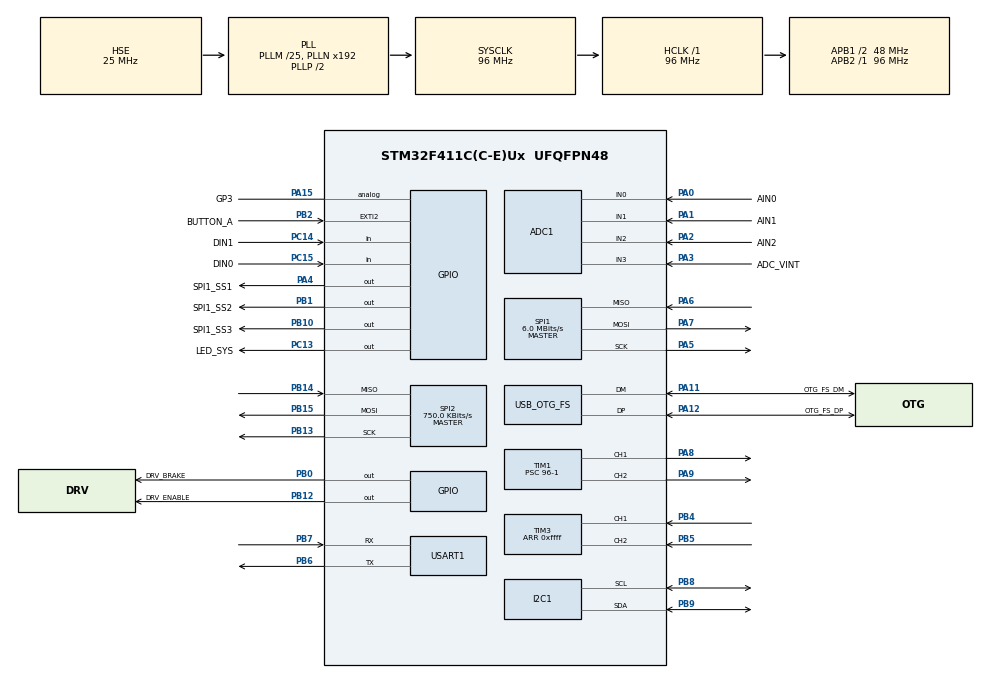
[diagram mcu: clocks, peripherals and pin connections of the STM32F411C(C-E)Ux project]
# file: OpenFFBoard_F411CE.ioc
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ADC1.Channel-1\#ChannelRegularConversion=ADC_CHANNEL_1
ADC1.Channel-12\#ChannelRegularConversion=ADC_CHANNEL_TEMPSENSOR
ADC1.Channel-13\#ChannelRegularConversion=ADC_CHANNEL_VREFINT
ADC1.Channel-2\#ChannelRegularConversion=ADC_CHANNEL_0
ADC1.Channel-3\#ChannelRegularConversion=ADC_CHANNEL_13
ADC1.Channel-4\#ChannelRegularConversion=ADC_CHANNEL_12
ADC1.Channel-5\#ChannelRegularConversion=ADC_CHANNEL_11
ADC1.Channel-6\#ChannelRegularConversion=ADC_CHANNEL_10
ADC1.Channel-7\#ChannelRegularConversion=ADC_CHANNEL_2
ADC1.Channel-8\#ChannelRegularConversion=ADC_CHANNEL_3
ADC1.ContinuousConvMode=ENABLE
ADC1.DMAContinuousRequests=ENABLE
ADC1.InjNumberOfConversion=0
ADC1.NbrOfConversion=10
ADC1.Rank-1\#ChannelRegularConversion=1
ADC1.Rank-12\#ChannelRegularConversion=9
ADC1.Rank-13\#ChannelRegularConversion=10
ADC1.Rank-2\#ChannelRegularConversion=2
ADC1.Rank-3\#ChannelRegularConversion=3
ADC1.Rank-4\#ChannelRegularConversion=4
ADC1.Rank-5\#ChannelRegularConversion=5
ADC1.Rank-6\#ChannelRegularConversion=6
ADC1.Rank-7\#ChannelRegularConversion=7
ADC1.Rank-8\#ChannelRegularConversion=8
ADC1.SamplingTime-1\#ChannelRegularConversion=ADC_SAMPLETIME_56CYCLES
ADC1.SamplingTime-12\#ChannelRegularConversion=ADC_SAMPLETIME_28CYCLES
ADC1.SamplingTime-13\#ChannelRegularConversion=ADC_SAMPLETIME_28CYCLES
ADC1.SamplingTime-2\#ChannelRegularConversion=ADC_SAMPLETIME_56CYCLES
ADC1.SamplingTime-3\#ChannelRegularConversion=ADC_SAMPLETIME_56CYCLES
ADC1.SamplingTime-4\#ChannelRegularConversion=ADC_SAMPLETIME_56CYCLES
ADC1.SamplingTime-5\#ChannelRegularConversion=ADC_SAMPLETIME_56CYCLES
ADC1.SamplingTime-6\#ChannelRegularConversion=ADC_SAMPLETIME_56CYCLES
ADC1.SamplingTime-7\#ChannelRegularConversion=ADC_SAMPLETIME_28CYCLES
ADC1.SamplingTime-8\#ChannelRegularConversion=ADC_SAMPLETIME_28CYCLES
ADC1.master=1
Dma.ADC1.0.Direction=DMA_PERIPH_TO_MEMORY
Dma.ADC1.0.FIFOMode=DMA_FIFOMODE_DISABLE
Dma.ADC1.0.Instance=DMA2_Stream0
Dma.ADC1.0.MemDataAlignment=DMA_MDATAALIGN_WORD
Dma.ADC1.0.MemInc=DMA_MINC_ENABLE
Dma.ADC1.0.Mode=DMA_CIRCULAR
Dma.ADC1.0.PeriphDataAlignment=DMA_PDATAALIGN_WORD
Dma.ADC1.0.PeriphInc=DMA_PINC_DISABLE
Dma.ADC1.0.Priority=DMA_PRIORITY_MEDIUM
Dma.Request0=ADC1
Dma.Request1=SPI1_TX
Dma.Request2=SPI2_RX
Dma.Request3=SPI2_TX
Dma.Request4=SPI1_RX
Dma.SPI1_RX.4.Direction=DMA_PERIPH_TO_MEMORY
Dma.SPI1_RX.4.FIFOMode=DMA_FIFOMODE_DISABLE
Dma.SPI1_RX.4.Instance=DMA2_Stream2
Dma.SPI1_RX.4.MemDataAlignment=DMA_MDATAALIGN_BYTE
Dma.SPI1_RX.4.MemInc=DMA_MINC_ENABLE
Dma.SPI1_RX.4.Mode=DMA_NORMAL
Dma.SPI1_RX.4.PeriphDataAlignment=DMA_PDATAALIGN_BYTE
Dma.SPI1_RX.4.PeriphInc=DMA_PINC_DISABLE
Dma.SPI1_RX.4.Priority=DMA_PRIORITY_HIGH
Dma.SPI1_TX.1.Direction=DMA_MEMORY_TO_PERIPH
Dma.SPI1_TX.1.FIFOMode=DMA_FIFOMODE_DISABLE
Dma.SPI1_TX.1.Instance=DMA2_Stream3
Dma.SPI1_TX.1.MemDataAlignment=DMA_MDATAALIGN_BYTE
Dma.SPI1_TX.1.MemInc=DMA_MINC_ENABLE
Dma.SPI1_TX.1.Mode=DMA_NORMAL
Dma.SPI1_TX.1.PeriphDataAlignment=DMA_PDATAALIGN_BYTE
Dma.SPI1_TX.1.PeriphInc=DMA_PINC_DISABLE
Dma.SPI1_TX.1.Priority=DMA_PRIORITY_HIGH
Dma.SPI2_RX.2.Direction=DMA_PERIPH_TO_MEMORY
Dma.SPI2_RX.2.FIFOMode=DMA_FIFOMODE_DISABLE
Dma.SPI2_RX.2.Instance=DMA1_Stream3
Dma.SPI2_RX.2.MemDataAlignment=DMA_MDATAALIGN_BYTE
Dma.SPI2_RX.2.MemInc=DMA_MINC_ENABLE
Dma.SPI2_RX.2.Mode=DMA_NORMAL
Dma.SPI2_RX.2.PeriphDataAlignment=DMA_PDATAALIGN_BYTE
Dma.SPI2_RX.2.PeriphInc=DMA_PINC_DISABLE
Dma.SPI2_RX.2.Priority=DMA_PRIORITY_LOW
Dma.SPI2_TX.3.Direction=DMA_MEMORY_TO_PERIPH
Dma.SPI2_TX.3.FIFOMode=DMA_FIFOMODE_DISABLE
Dma.SPI2_TX.3.Instance=DMA1_Stream4
Dma.SPI2_TX.3.MemDataAlignment=DMA_MDATAALIGN_BYTE
Dma.SPI2_TX.3.MemInc=DMA_MINC_ENABLE
Dma.SPI2_TX.3.Mode=DMA_NORMAL
Dma.SPI2_TX.3.PeriphDataAlignment=DMA_PDATAALIGN_BYTE
Dma.SPI2_TX.3.PeriphInc=DMA_PINC_DISABLE
Dma.SPI2_TX.3.Priority=DMA_PRIORITY_LOW
FREERTOS.HEAP_NUMBER=4
FREERTOS.Tasks01=defaultTask,16,1024,StartDefaultTask,As weak,NULL,Dynamic,NULL,NULL
FREERTOS.configCHECK_FOR_STACK_OVERFLOW=2
FREERTOS.configENABLE_FPU=1
FREERTOS.configGENERATE_RUN_TIME_STATS=0
FREERTOS.configRECORD_STACK_HIGH_ADDRESS=1
FREERTOS.configTOTAL_HEAP_SIZE=0xffff
FREERTOS.configUSE_NEWLIB_REENTRANT=1
IWDG.Prescaler=IWDG_PRESCALER_16
Mcu.Family=STM32F4
Mcu.Name=STM32F411C(C-E)Ux
Mcu.Package=UFQFPN48
NVIC.DMA1_Stream3_IRQn=true\:5\:0\:true\:false\:true\:true\:false\:true\:true
NVIC.DMA1_Stream4_IRQn=true\:5\:0\:true\:false\:true\:true\:false\:true\:true
NVIC.DMA2_Stream0_IRQn=true\:5\:0\:true\:true\:true\:2\:true\:false\:true\:true
NVIC.DMA2_Stream2_IRQn=true\:5\:0\:true\:false\:true\:true\:false\:true\:true
NVIC.DMA2_Stream3_IRQn=true\:5\:0\:true\:false\:true\:true\:false\:true\:true
NVIC.EXTI2_IRQn=true\:6\:0\:true\:false\:true\:true\:true\:true\:true
NVIC.OTG_FS_IRQn=true\:14\:0\:true\:false\:true\:true\:true\:false\:true
NVIC.PriorityGroup=NVIC_PRIORITYGROUP_4
NVIC.SPI1_IRQn=true\:5\:0\:false\:false\:true\:true\:true\:true\:true
NVIC.TIM1_BRK_TIM9_IRQn=true\:6\:0\:true\:false\:true\:true\:true\:true\:true
NVIC.TIM1_TRG_COM_TIM11_IRQn=true\:0\:0\:true\:false\:true\:false\:false\:true\:true
NVIC.TIM2_IRQn=true\:7\:0\:true\:true\:true\:5\:true\:true\:true\:true
NVIC.TIM4_IRQn=true\:6\:0\:true\:true\:true\:3\:true\:true\:true\:true
NVIC.TIM5_IRQn=true\:9\:0\:true\:true\:true\:7\:true\:true\:true\:true
NVIC.TimeBase=TIM1_TRG_COM_TIM11_IRQn
NVIC.TimeBaseIP=TIM11
PA0-WKUP.GPIO_Label=AIN0
PA0-WKUP.Signal=ADCx_IN0
PA1.GPIO_Label=AIN1
PA1.Signal=ADCx_IN1
PA11.GPIO_Label=OTG_FS_DM
PA11.Mode=Device_Only
PA11.Signal=USB_OTG_FS_DM
PA12.GPIO_Label=OTG_FS_DP
PA12.Mode=Device_Only
PA12.Signal=USB_OTG_FS_DP
PA13.GPIO_Label=SWDIO
PA13.Mode=Serial_Wire
PA13.Signal=SYS_JTMS-SWDIO
PA14.GPIO_Label=SWCLK
PA14.Mode=Serial_Wire
PA14.Signal=SYS_JTCK-SWCLK
PA15.GPIO_Label=GP3
PA15.Signal=GPIO_Analog
PA2.GPIO_Label=AIN2
PA2.Signal=ADCx_IN2
PA3.GPIO_Label=ADC_VINT
PA3.Signal=ADCx_IN3
PA4.GPIO_Label=SPI1_SS1
PA4.GPIO_Speed=GPIO_SPEED_FREQ_VERY_HIGH
PA4.PinState=GPIO_PIN_SET
PA4.Signal=GPIO_Output
PA5.Mode=Full_Duplex_Master
PA5.Signal=SPI1_SCK
PA6.GPIO_PuPd=GPIO_NOPULL
PA6.Mode=Full_Duplex_Master
PA6.Signal=SPI1_MISO
PA7.Mode=Full_Duplex_Master
PA7.Signal=SPI1_MOSI
PA8.Signal=S_TIM1_CH1
PA9.Signal=S_TIM1_CH2
PB0.GPIO_Label=DRV_BRAKE
PB0.GPIO_PuPd=GPIO_NOPULL
PB0.GPIO_Speed=GPIO_SPEED_FREQ_MEDIUM
PB0.Signal=GPIO_Output
PB1.GPIO_Label=SPI1_SS2
PB1.GPIO_Speed=GPIO_SPEED_FREQ_VERY_HIGH
PB1.PinState=GPIO_PIN_SET
PB1.Signal=GPIO_Output
PB10.GPIO_Label=SPI1_SS3
PB10.GPIO_Speed=GPIO_SPEED_FREQ_VERY_HIGH
PB10.PinState=GPIO_PIN_SET
PB10.Signal=GPIO_Output
PB12.GPIO_Label=DRV_ENABLE
PB12.Signal=GPIO_Output
PB13.Mode=Full_Duplex_Master
PB13.Signal=SPI2_SCK
PB14.Mode=Full_Duplex_Master
PB14.Signal=SPI2_MISO
PB15.Mode=Full_Duplex_Master
PB15.Signal=SPI2_MOSI
PB2.GPIO_Label=BUTTON_A
PB2.Signal=GPXTI2
PB3.Signal=SYS_JTDO-SWO
PB4.GPIO_PuPd=GPIO_PULLUP
PB4.Signal=S_TIM3_CH1
PB5.GPIO_PuPd=GPIO_PULLUP
PB5.Signal=S_TIM3_CH2
PB6.Mode=Asynchronous
PB6.Signal=USART1_TX
PB7.Mode=Asynchronous
PB7.Signal=USART1_RX
PB8.Mode=I2C
PB8.Signal=I2C1_SCL
PB9.Mode=I2C
PB9.Signal=I2C1_SDA
PC13-ANTI_TAMP.GPIO_Label=LED_SYS
PC13-ANTI_TAMP.Signal=GPIO_Output
PC14-OSC32_IN.GPIO_Label=DIN1
PC14-OSC32_IN.GPIO_PuPd=GPIO_PULLUP
PC14-OSC32_IN.Signal=GPIO_Input
PC15-OSC32_OUT.GPIO_Label=DIN0
PC15-OSC32_OUT.GPIO_PuPd=GPIO_PULLUP
PC15-OSC32_OUT.Signal=GPIO_Input
PH0\ -\ OSC_IN.Mode=HSE-External-Oscillator
PH0\ -\ OSC_IN.Signal=RCC_OSC_IN
PH1\ -\ OSC_OUT.Mode=HSE-External-Oscillator
PH1\ -\ OSC_OUT.Signal=RCC_OSC_OUT
ProjectManager.HeapSize=0x400
ProjectManager.StackSize=0x400
ProjectManager.TargetToolchain=Makefile
RCC.48MHZClocksFreq_Value=48000000
RCC.AHBFreq_Value=96000000
RCC.APB1CLKDivider=RCC_HCLK_DIV2
RCC.APB1Freq_Value=48000000
RCC.APB1TimFreq_Value=96000000
RCC.APB2Freq_Value=96000000
RCC.APB2TimFreq_Value=96000000
RCC.CortexFreq_Value=96000000
RCC.HCLKFreq_Value=96000000
RCC.HSE_VALUE=25000000
RCC.HSI_VALUE=16000000
RCC.LSE_VALUE=32768
RCC.PLLM=25
RCC.SYSCLKFreq_VALUE=96000000
RCC.SYSCLKSource=RCC_SYSCLKSOURCE_PLLCLK
RCC.VCOOutputFreq_Value=192000000
SH.ADCx_IN0.0=ADC1_IN0,IN0
SH.ADCx_IN1.0=ADC1_IN1,IN1
SH.ADCx_IN2.0=ADC1_IN2,IN2
SH.ADCx_IN3.0=ADC1_IN3,IN3
SH.S_TIM1_CH1.0=TIM1_CH1,PWM Generation1 CH1
SH.S_TIM1_CH2.0=TIM1_CH2,PWM Generation2 CH2
SH.S_TIM3_CH1.0=TIM3_CH1,Encoder_Interface
SH.S_TIM3_CH2.0=TIM3_CH2,Encoder_Interface
SPI1.BaudRatePrescaler=SPI_BAUDRATEPRESCALER_16
SPI1.CLKPhase=SPI_PHASE_2EDGE
SPI1.CLKPolarity=SPI_POLARITY_HIGH
SPI1.CalculateBaudRate=6.0 MBits/s
SPI1.DataSize=SPI_DATASIZE_8BIT
SPI1.Direction=SPI_DIRECTION_2LINES
SPI1.FirstBit=SPI_FIRSTBIT_MSB
SPI1.Mode=SPI_MODE_MASTER
SPI1.VirtualType=VM_MASTER
SPI2.BaudRatePrescaler=SPI_BAUDRATEPRESCALER_64
SPI2.CLKPhase=SPI_PHASE_1EDGE
SPI2.CLKPolarity=SPI_POLARITY_LOW
SPI2.CalculateBaudRate=750.0 KBits/s
SPI2.Direction=SPI_DIRECTION_2LINES
SPI2.FirstBit=SPI_FIRSTBIT_MSB
SPI2.Mode=SPI_MODE_MASTER
SPI2.VirtualType=VM_MASTER
TIM1.Channel-PWM\ Generation1\ CH1=TIM_CHANNEL_1
TIM1.Channel-PWM\ Generation2\ CH2=TIM_CHANNEL_2
TIM1.Period=0xffff
TIM1.Prescaler=96-1
TIM2.Period=500
TIM2.Prescaler=96-1
TIM3.CounterMode=TIM_COUNTERMODE_CENTERALIGNED1
TIM3.EncoderMode=TIM_ENCODERMODE_TI12
TIM3.Period=0xffff
TIM4.Period=0xffff
TIM4.Prescaler=96-1
TIM5.Period=0xffffffff
TIM5.Prescaler=96-1
USART1.VirtualMode=VM_ASYNC
USB_OTG_FS.Sof_enable=DISABLE
USB_OTG_FS.VirtualMode=Device_Only
USB_OTG_FS.lpm_enable=DISABLE
VP_ADC1_TempSens_Input.Mode=IN-TempSens
VP_ADC1_Vref_Input.Mode=IN-Vrefint
VP_FREERTOS_VS_CMSIS_V2.Mode=CMSIS_V2
VP_IWDG_VS_IWDG.Mode=IWDG_Activate
VP_SYS_VS_tim11.Mode=TIM11
VP_TIM10_VS_ClockSourceINT.Mode=Enable_Timer
VP_TIM1_VS_ClockSourceINT.Mode=Internal
VP_TIM2_VS_ClockSourceINT.Mode=Internal
VP_TIM4_VS_ClockSourceINT.Mode=Internal
VP_TIM5_VS_ClockSourceINT.Mode=Internal
VP_TIM9_VS_ClockSourceINT.Mode=Internal
board=custom

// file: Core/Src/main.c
/* USER CODE BEGIN Header */
/**
  ******************************************************************************
  * @file           : main.c
  * @brief          : Main program body
  ******************************************************************************
  * @attention
  *
  * <h2><center>&copy; Copyright (c) 2020 STMicroelectronics.
  * All rights reserved.</center></h2>
  *
  * This software component is licensed by ST under BSD 3-Clause license,
  * the "License"; You may not use this file except in compliance with the
  * License. You may obtain a copy of the License at:
  *                        opensource.org/licenses/BSD-3-Clause
  *
  ******************************************************************************
  */
/* USER CODE END Header */
#include "main.h"
#include "cmsis_os.h"

/* USER CODE BEGIN Includes */
//#include <cppmain.h>
extern void cppmain();
#include "global_callbacks.h"
/* USER CODE END Includes */

ADC_HandleTypeDef hadc1;
DMA_HandleTypeDef hdma_adc1;

I2C_HandleTypeDef hi2c1;

IWDG_HandleTypeDef hiwdg;

SPI_HandleTypeDef hspi1;
SPI_HandleTypeDef hspi2;
DMA_HandleTypeDef hdma_spi1_tx;
DMA_HandleTypeDef hdma_spi1_rx;
DMA_HandleTypeDef hdma_spi2_rx;
DMA_HandleTypeDef hdma_spi2_tx;

TIM_HandleTypeDef htim1;
TIM_HandleTypeDef htim2;
TIM_HandleTypeDef htim3;
TIM_HandleTypeDef htim4;
TIM_HandleTypeDef htim5;
TIM_HandleTypeDef htim9;
TIM_HandleTypeDef htim10;

UART_HandleTypeDef huart1;

PCD_HandleTypeDef hpcd_USB_OTG_FS;

/* Definitions for defaultTask */
osThreadId_t defaultTaskHandle;
const osThreadAttr_t defaultTask_attributes = {
  .name = "defaultTask",
  .stack_size = 1024 * 4,
  .priority = (osPriority_t) osPriorityBelowNormal,
};

void SystemClock_Config(void);
static void MX_GPIO_Init(void);
static void MX_DMA_Init(void);
static void MX_ADC1_Init(void);
static void MX_TIM2_Init(void);
static void MX_TIM1_Init(void);
static void MX_SPI2_Init(void);
static void MX_TIM4_Init(void);
static void MX_TIM5_Init(void);
static void MX_SPI1_Init(void);
static void MX_TIM10_Init(void);
static void MX_TIM9_Init(void);
static void MX_IWDG_Init(void);
static void MX_TIM3_Init(void);
static void MX_USART1_UART_Init(void);
static void MX_I2C1_Init(void);
void StartDefaultTask(void *argument);

static void MX_NVIC_Init(void);
/* USER CODE BEGIN PFP */
uint32_t dfu_reset_to_bootloader_magic;
/* USER CODE END PFP */

/* USER CODE BEGIN 0 */

// dummy main
__attribute__((weak)) void cppmain(){
	Error_Handler();
}

/* USER CODE END 0 */

int main(void)
{

  /* MCU Configuration--------------------------------------------------------*/

  /* Reset of all peripherals, Initializes the Flash interface and the Systick. */
  HAL_Init();

  /* Configure the system clock */
  SystemClock_Config();

  /* Initialize all configured peripherals */
  MX_GPIO_Init();
  MX_DMA_Init();
  MX_ADC1_Init();
  MX_TIM2_Init();
  MX_TIM1_Init();
  MX_SPI2_Init();
  MX_TIM4_Init();
  MX_TIM5_Init();
  MX_SPI1_Init();
  MX_TIM10_Init();
  MX_TIM9_Init();
  MX_IWDG_Init();
  MX_TIM3_Init();
  MX_USART1_UART_Init();
  MX_I2C1_Init();

  /* Initialize interrupts */
  MX_NVIC_Init();
  /* USER CODE BEGIN 2 */
  MX_USB_OTG_FS_PCD_Init();
  //Test leds
  HAL_GPIO_WritePin(LED_SYS_GPIO_Port, LED_SYS_Pin, GPIO_PIN_SET);
  // HAL_GPIO_WritePin(LED_CLIP_GPIO_Port, LED_CLIP_Pin, GPIO_PIN_SET);
  // HAL_GPIO_WritePin(LED_ERR_GPIO_Port, LED_ERR_Pin, GPIO_PIN_SET);
  HAL_Delay(100);

  /* USER CODE END 2 */

  /* Init scheduler */
  osKernelInitialize();

  /* Create the thread(s) */
  /* creation of defaultTask */
  defaultTaskHandle = osThreadNew(StartDefaultTask, NULL, &defaultTask_attributes);

  /* Start scheduler */
  osKernelStart();

  /* We should never get here as control is now taken by the scheduler */
  /* Infinite loop */
  /* USER CODE BEGIN WHILE */

  while (1)
  {
	  cppmain();
    /* USER CODE END WHILE */

  }
}

void SystemClock_Config(void)
{
  RCC_OscInitTypeDef RCC_OscInitStruct = {0};
  RCC_ClkInitTypeDef RCC_ClkInitStruct = {0};

  /** Configure the main internal regulator output voltage
  */
  __HAL_RCC_PWR_CLK_ENABLE();
  __HAL_PWR_VOLTAGESCALING_CONFIG(PWR_REGULATOR_VOLTAGE_SCALE1);

  /** Initializes the RCC Oscillators according to the specified parameters
  * in the RCC_OscInitTypeDef structure.
  */
  RCC_OscInitStruct.OscillatorType = RCC_OSCILLATORTYPE_LSI|RCC_OSCILLATORTYPE_HSE;
  RCC_OscInitStruct.HSEState = RCC_HSE_ON;
  RCC_OscInitStruct.LSIState = RCC_LSI_ON;
  RCC_OscInitStruct.PLL.PLLState = RCC_PLL_ON;
  RCC_OscInitStruct.PLL.PLLSource = RCC_PLLSOURCE_HSE;
  RCC_OscInitStruct.PLL.PLLM = 25;
  RCC_OscInitStruct.PLL.PLLN = 192;
  RCC_OscInitStruct.PLL.PLLP = RCC_PLLP_DIV2;
  RCC_OscInitStruct.PLL.PLLQ = 4;
  if (HAL_RCC_OscConfig(&RCC_OscInitStruct) != HAL_OK)
  {
    Error_Handler();
  }

  /** Initializes the CPU, AHB and APB buses clocks
  */
  RCC_ClkInitStruct.ClockType = RCC_CLOCKTYPE_HCLK|RCC_CLOCKTYPE_SYSCLK
                              |RCC_CLOCKTYPE_PCLK1|RCC_CLOCKTYPE_PCLK2;
  RCC_ClkInitStruct.SYSCLKSource = RCC_SYSCLKSOURCE_PLLCLK;
  RCC_ClkInitStruct.AHBCLKDivider = RCC_SYSCLK_DIV1;
  RCC_ClkInitStruct.APB1CLKDivider = RCC_HCLK_DIV2;
  RCC_ClkInitStruct.APB2CLKDivider = RCC_HCLK_DIV1;

  if (HAL_RCC_ClockConfig(&RCC_ClkInitStruct, FLASH_LATENCY_3) != HAL_OK)
  {
    Error_Handler();
  }
}

/**
  * @brief NVIC Configuration.
  * @retval None
  */
static void MX_NVIC_Init(void)
{
  /* DMA2_Stream0_IRQn interrupt configuration */
  HAL_NVIC_SetPriority(DMA2_Stream0_IRQn, 5, 0);
  HAL_NVIC_EnableIRQ(DMA2_Stream0_IRQn);
  /* TIM4_IRQn interrupt configuration */
  HAL_NVIC_SetPriority(TIM4_IRQn, 6, 0);
  HAL_NVIC_EnableIRQ(TIM4_IRQn);
  /* TIM2_IRQn interrupt configuration */
  HAL_NVIC_SetPriority(TIM2_IRQn, 7, 0);
  HAL_NVIC_EnableIRQ(TIM2_IRQn);
  /* TIM5_IRQn interrupt configuration */
  HAL_NVIC_SetPriority(TIM5_IRQn, 9, 0);
  HAL_NVIC_EnableIRQ(TIM5_IRQn);
}

static void MX_ADC1_Init(void)
{

  ADC_ChannelConfTypeDef sConfig = {0};

  /** Configure the global features of the ADC (Clock, Resolution, Data Alignment and number of conversion)
  */
  hadc1.Instance = ADC1;
  hadc1.Init.ClockPrescaler = ADC_CLOCK_SYNC_PCLK_DIV4;
  hadc1.Init.Resolution = ADC_RESOLUTION_12B;
  hadc1.Init.ScanConvMode = ENABLE;
  hadc1.Init.ContinuousConvMode = ENABLE;
  hadc1.Init.DiscontinuousConvMode = DISABLE;
  hadc1.Init.ExternalTrigConvEdge = ADC_EXTERNALTRIGCONVEDGE_NONE;
  hadc1.Init.ExternalTrigConv = ADC_SOFTWARE_START;
  hadc1.Init.DataAlign = ADC_DATAALIGN_RIGHT;
  hadc1.Init.NbrOfConversion = 10;
  hadc1.Init.DMAContinuousRequests = ENABLE;
  hadc1.Init.EOCSelection = ADC_EOC_SINGLE_CONV;
  if (HAL_ADC_Init(&hadc1) != HAL_OK)
  {
    Error_Handler();
  }

  /** Configure for the selected ADC regular channel its corresponding rank in the sequencer and its sample time.
  */
  sConfig.Channel = ADC_CHANNEL_0;
  sConfig.Rank = 1;
  sConfig.SamplingTime = ADC_SAMPLETIME_56CYCLES;
  if (HAL_ADC_ConfigChannel(&hadc1, &sConfig) != HAL_OK)
  {
    Error_Handler();
  }

  /** Configure for the selected ADC regular channel its corresponding rank in the sequencer and its sample time.
  */
  sConfig.Channel = ADC_CHANNEL_1;
  sConfig.Rank = 2;
  if (HAL_ADC_ConfigChannel(&hadc1, &sConfig) != HAL_OK)
  {
    Error_Handler();
  }

  /** Configure for the selected ADC regular channel its corresponding rank in the sequencer and its sample time.
  */
  sConfig.Channel = ADC_CHANNEL_2;
  sConfig.Rank = 3;
  if (HAL_ADC_ConfigChannel(&hadc1, &sConfig) != HAL_OK)
  {
    Error_Handler();
  }

  /** Configure for the selected ADC regular channel its corresponding rank in the sequencer and its sample time.
  */
  sConfig.Channel = ADC_CHANNEL_12;
  sConfig.Rank = 4;
  if (HAL_ADC_ConfigChannel(&hadc1, &sConfig) != HAL_OK)
  {
    Error_Handler();
  }

  /** Configure for the selected ADC regular channel its corresponding rank in the sequencer and its sample time.
  */
  sConfig.Channel = ADC_CHANNEL_11;
  sConfig.Rank = 5;
  if (HAL_ADC_ConfigChannel(&hadc1, &sConfig) != HAL_OK)
  {
    Error_Handler();
  }

  /** Configure for the selected ADC regular channel its corresponding rank in the sequencer and its sample time.
  */
  sConfig.Channel = ADC_CHANNEL_10;
  sConfig.Rank = 6;
  if (HAL_ADC_ConfigChannel(&hadc1, &sConfig) != HAL_OK)
  {
    Error_Handler();
  }

  /** Configure for the selected ADC regular channel its corresponding rank in the sequencer and its sample time.
  */
  sConfig.Channel = ADC_CHANNEL_2;
  sConfig.Rank = 7;
  sConfig.SamplingTime = ADC_SAMPLETIME_28CYCLES;
  if (HAL_ADC_ConfigChannel(&hadc1, &sConfig) != HAL_OK)
  {
    Error_Handler();
  }

  /** Configure for the selected ADC regular channel its corresponding rank in the sequencer and its sample time.
  */
  sConfig.Channel = ADC_CHANNEL_3;
  sConfig.Rank = 8;
  if (HAL_ADC_ConfigChannel(&hadc1, &sConfig) != HAL_OK)
  {
    Error_Handler();
  }

  /** Configure for the selected ADC regular channel its corresponding rank in the sequencer and its sample time.
  */
  sConfig.Channel = ADC_CHANNEL_TEMPSENSOR;
  sConfig.Rank = 9;
  if (HAL_ADC_ConfigChannel(&hadc1, &sConfig) != HAL_OK)
  {
    Error_Handler();
  }

  /** Configure for the selected ADC regular channel its corresponding rank in the sequencer and its sample time.
  */
  sConfig.Channel = ADC_CHANNEL_VREFINT;
  sConfig.Rank = 10;
  if (HAL_ADC_ConfigChannel(&hadc1, &sConfig) != HAL_OK)
  {
    Error_Handler();
  }

}

static void MX_I2C1_Init(void)
{

  hi2c1.Instance = I2C1;
  hi2c1.Init.ClockSpeed = 100000;
  hi2c1.Init.DutyCycle = I2C_DUTYCYCLE_2;
  hi2c1.Init.OwnAddress1 = 0;
  hi2c1.Init.AddressingMode = I2C_ADDRESSINGMODE_7BIT;
  hi2c1.Init.DualAddressMode = I2C_DUALADDRESS_DISABLE;
  hi2c1.Init.OwnAddress2 = 0;
  hi2c1.Init.GeneralCallMode = I2C_GENERALCALL_DISABLE;
  hi2c1.Init.NoStretchMode = I2C_NOSTRETCH_DISABLE;
  if (HAL_I2C_Init(&hi2c1) != HAL_OK)
  {
    Error_Handler();
  }

}

static void MX_IWDG_Init(void)
{

  hiwdg.Instance = IWDG;
  hiwdg.Init.Prescaler = IWDG_PRESCALER_16;
  hiwdg.Init.Reload = 4095;
  if (HAL_IWDG_Init(&hiwdg) != HAL_OK)
  {
    Error_Handler();
  }

}

static void MX_SPI1_Init(void)
{

  /* SPI1 parameter configuration*/
  hspi1.Instance = SPI1;
  hspi1.Init.Mode = SPI_MODE_MASTER;
  hspi1.Init.Direction = SPI_DIRECTION_2LINES;
  hspi1.Init.DataSize = SPI_DATASIZE_8BIT;
  hspi1.Init.CLKPolarity = SPI_POLARITY_HIGH;
  hspi1.Init.CLKPhase = SPI_PHASE_2EDGE;
  hspi1.Init.NSS = SPI_NSS_SOFT;
  hspi1.Init.BaudRatePrescaler = SPI_BAUDRATEPRESCALER_16;
  hspi1.Init.FirstBit = SPI_FIRSTBIT_MSB;
  hspi1.Init.TIMode = SPI_TIMODE_DISABLE;
  hspi1.Init.CRCCalculation = SPI_CRCCALCULATION_DISABLE;
  hspi1.Init.CRCPolynomial = 10;
  if (HAL_SPI_Init(&hspi1) != HAL_OK)
  {
    Error_Handler();
  }

}

static void MX_SPI2_Init(void)
{

  /* SPI2 parameter configuration*/
  hspi2.Instance = SPI2;
  hspi2.Init.Mode = SPI_MODE_MASTER;
  hspi2.Init.Direction = SPI_DIRECTION_2LINES;
  hspi2.Init.DataSize = SPI_DATASIZE_8BIT;
  hspi2.Init.CLKPolarity = SPI_POLARITY_LOW;
  hspi2.Init.CLKPhase = SPI_PHASE_1EDGE;
  hspi2.Init.NSS = SPI_NSS_SOFT;
  hspi2.Init.BaudRatePrescaler = SPI_BAUDRATEPRESCALER_64;
  hspi2.Init.FirstBit = SPI_FIRSTBIT_MSB;
  hspi2.Init.TIMode = SPI_TIMODE_DISABLE;
  hspi2.Init.CRCCalculation = SPI_CRCCALCULATION_DISABLE;
  hspi2.Init.CRCPolynomial = 10;
  if (HAL_SPI_Init(&hspi2) != HAL_OK)
  {
    Error_Handler();
  }

}

static void MX_TIM1_Init(void)
{

  TIM_ClockConfigTypeDef sClockSourceConfig = {0};
  TIM_MasterConfigTypeDef sMasterConfig = {0};
  TIM_OC_InitTypeDef sConfigOC = {0};
  TIM_BreakDeadTimeConfigTypeDef sBreakDeadTimeConfig = {0};

  htim1.Instance = TIM1;
  htim1.Init.Prescaler = 96-1;
  htim1.Init.CounterMode = TIM_COUNTERMODE_UP;
  htim1.Init.Period = 0xffff;
  htim1.Init.ClockDivision = TIM_CLOCKDIVISION_DIV1;
  htim1.Init.RepetitionCounter = 0;
  htim1.Init.AutoReloadPreload = TIM_AUTORELOAD_PRELOAD_DISABLE;
  if (HAL_TIM_Base_Init(&htim1) != HAL_OK)
  {
    Error_Handler();
  }
  sClockSourceConfig.ClockSource = TIM_CLOCKSOURCE_INTERNAL;
  if (HAL_TIM_ConfigClockSource(&htim1, &sClockSourceConfig) != HAL_OK)
  {
    Error_Handler();
  }
  if (HAL_TIM_PWM_Init(&htim1) != HAL_OK)
  {
    Error_Handler();
  }
  sMasterConfig.MasterOutputTrigger = TIM_TRGO_RESET;
  sMasterConfig.MasterSlaveMode = TIM_MASTERSLAVEMODE_DISABLE;
  if (HAL_TIMEx_MasterConfigSynchronization(&htim1, &sMasterConfig) != HAL_OK)
  {
    Error_Handler();
  }
  sConfigOC.OCMode = TIM_OCMODE_PWM1;
  sConfigOC.Pulse = 0;
  sConfigOC.OCPolarity = TIM_OCPOLARITY_HIGH;
  sConfigOC.OCNPolarity = TIM_OCNPOLARITY_HIGH;
  sConfigOC.OCFastMode = TIM_OCFAST_DISABLE;
  sConfigOC.OCIdleState = TIM_OCIDLESTATE_RESET;
  sConfigOC.OCNIdleState = TIM_OCNIDLESTATE_RESET;
  if (HAL_TIM_PWM_ConfigChannel(&htim1, &sConfigOC, TIM_CHANNEL_1) != HAL_OK)
  {
    Error_Handler();
  }
  if (HAL_TIM_PWM_ConfigChannel(&htim1, &sConfigOC, TIM_CHANNEL_2) != HAL_OK)
  {
    Error_Handler();
  }
  sBreakDeadTimeConfig.OffStateRunMode = TIM_OSSR_DISABLE;
  sBreakDeadTimeConfig.OffStateIDLEMode = TIM_OSSI_DISABLE;
  sBreakDeadTimeConfig.LockLevel = TIM_LOCKLEVEL_OFF;
  sBreakDeadTimeConfig.DeadTime = 0;
  sBreakDeadTimeConfig.BreakState = TIM_BREAK_DISABLE;
  sBreakDeadTimeConfig.BreakPolarity = TIM_BREAKPOLARITY_HIGH;
  sBreakDeadTimeConfig.AutomaticOutput = TIM_AUTOMATICOUTPUT_DISABLE;
  if (HAL_TIMEx_ConfigBreakDeadTime(&htim1, &sBreakDeadTimeConfig) != HAL_OK)
  {
    Error_Handler();
  }
  HAL_TIM_MspPostInit(&htim1);

}

static void MX_TIM2_Init(void)
{

  TIM_ClockConfigTypeDef sClockSourceConfig = {0};
  TIM_MasterConfigTypeDef sMasterConfig = {0};

  htim2.Instance = TIM2;
  htim2.Init.Prescaler = 96-1;
  htim2.Init.CounterMode = TIM_COUNTERMODE_UP;
  htim2.Init.Period = 500;
  htim2.Init.ClockDivision = TIM_CLOCKDIVISION_DIV1;
  htim2.Init.AutoReloadPreload = TIM_AUTORELOAD_PRELOAD_DISABLE;
  if (HAL_TIM_Base_Init(&htim2) != HAL_OK)
  {
    Error_Handler();
  }
  sClockSourceConfig.ClockSource = TIM_CLOCKSOURCE_INTERNAL;
  if (HAL_TIM_ConfigClockSource(&htim2, &sClockSourceConfig) != HAL_OK)
  {
    Error_Handler();
  }
  sMasterConfig.MasterOutputTrigger = TIM_TRGO_RESET;
  sMasterConfig.MasterSlaveMode = TIM_MASTERSLAVEMODE_DISABLE;
  if (HAL_TIMEx_MasterConfigSynchronization(&htim2, &sMasterConfig) != HAL_OK)
  {
    Error_Handler();
  }

}

static void MX_TIM3_Init(void)
{

  TIM_Encoder_InitTypeDef sConfig = {0};
  TIM_MasterConfigTypeDef sMasterConfig = {0};

  htim3.Instance = TIM3;
  htim3.Init.Prescaler = 0;
  htim3.Init.CounterMode = TIM_COUNTERMODE_CENTERALIGNED1;
  htim3.Init.Period = 0xffff;
  htim3.Init.ClockDivision = TIM_CLOCKDIVISION_DIV1;
  htim3.Init.AutoReloadPreload = TIM_AUTORELOAD_PRELOAD_DISABLE;
  sConfig.EncoderMode = TIM_ENCODERMODE_TI12;
  sConfig.IC1Polarity = TIM_ICPOLARITY_RISING;
  sConfig.IC1Selection = TIM_ICSELECTION_DIRECTTI;
  sConfig.IC1Prescaler = TIM_ICPSC_DIV1;
  sConfig.IC1Filter = 0;
  sConfig.IC2Polarity = TIM_ICPOLARITY_RISING;
  sConfig.IC2Selection = TIM_ICSELECTION_DIRECTTI;
  sConfig.IC2Prescaler = TIM_ICPSC_DIV1;
  sConfig.IC2Filter = 0;
  if (HAL_TIM_Encoder_Init(&htim3, &sConfig) != HAL_OK)
  {
    Error_Handler();
  }
  sMasterConfig.MasterOutputTrigger = TIM_TRGO_RESET;
  sMasterConfig.MasterSlaveMode = TIM_MASTERSLAVEMODE_DISABLE;
  if (HAL_TIMEx_MasterConfigSynchronization(&htim3, &sMasterConfig) != HAL_OK)
  {
    Error_Handler();
  }

}

static void MX_TIM4_Init(void)
{

  TIM_ClockConfigTypeDef sClockSourceConfig = {0};
  TIM_MasterConfigTypeDef sMasterConfig = {0};

  htim4.Instance = TIM4;
  htim4.Init.Prescaler = 96-1;
  htim4.Init.CounterMode = TIM_COUNTERMODE_UP;
  htim4.Init.Period = 0xffff;
  htim4.Init.ClockDivision = TIM_CLOCKDIVISION_DIV1;
  htim4.Init.AutoReloadPreload = TIM_AUTORELOAD_PRELOAD_DISABLE;
  if (HAL_TIM_Base_Init(&htim4) != HAL_OK)
  {
    Error_Handler();
  }
  sClockSourceConfig.ClockSource = TIM_CLOCKSOURCE_INTERNAL;
  if (HAL_TIM_ConfigClockSource(&htim4, &sClockSourceConfig) != HAL_OK)
  {
    Error_Handler();
  }
  sMasterConfig.MasterOutputTrigger = TIM_TRGO_RESET;
  sMasterConfig.MasterSlaveMode = TIM_MASTERSLAVEMODE_DISABLE;
  if (HAL_TIMEx_MasterConfigSynchronization(&htim4, &sMasterConfig) != HAL_OK)
  {
    Error_Handler();
  }

}

static void MX_TIM5_Init(void)
{

  TIM_ClockConfigTypeDef sClockSourceConfig = {0};
  TIM_MasterConfigTypeDef sMasterConfig = {0};

  htim5.Instance = TIM5;
  htim5.Init.Prescaler = 96-1;
  htim5.Init.CounterMode = TIM_COUNTERMODE_UP;
  htim5.Init.Period = 0xffffffff;
  htim5.Init.ClockDivision = TIM_CLOCKDIVISION_DIV1;
  htim5.Init.AutoReloadPreload = TIM_AUTORELOAD_PRELOAD_DISABLE;
  if (HAL_TIM_Base_Init(&htim5) != HAL_OK)
  {
    Error_Handler();
  }
  sClockSourceConfig.ClockSource = TIM_CLOCKSOURCE_INTERNAL;
  if (HAL_TIM_ConfigClockSource(&htim5, &sClockSourceConfig) != HAL_OK)
  {
    Error_Handler();
  }
  sMasterConfig.MasterOutputTrigger = TIM_TRGO_RESET;
  sMasterConfig.MasterSlaveMode = TIM_MASTERSLAVEMODE_DISABLE;
  if (HAL_TIMEx_MasterConfigSynchronization(&htim5, &sMasterConfig) != HAL_OK)
  {
    Error_Handler();
  }

}

static void MX_TIM9_Init(void)
{

  TIM_ClockConfigTypeDef sClockSourceConfig = {0};

  htim9.Instance = TIM9;
  htim9.Init.Prescaler = 0;
  htim9.Init.CounterMode = TIM_COUNTERMODE_UP;
  htim9.Init.Period = 65535;
  htim9.Init.ClockDivision = TIM_CLOCKDIVISION_DIV1;
  htim9.Init.AutoReloadPreload = TIM_AUTORELOAD_PRELOAD_DISABLE;
  if (HAL_TIM_Base_Init(&htim9) != HAL_OK)
  {
    Error_Handler();
  }
  sClockSourceConfig.ClockSource = TIM_CLOCKSOURCE_INTERNAL;
  if (HAL_TIM_ConfigClockSource(&htim9, &sClockSourceConfig) != HAL_OK)
  {
    Error_Handler();
  }

}

static void MX_TIM10_Init(void)
{

  htim10.Instance = TIM10;
  htim10.Init.Prescaler = 0;
  htim10.Init.CounterMode = TIM_COUNTERMODE_UP;
  htim10.Init.Period = 65535;
  htim10.Init.ClockDivision = TIM_CLOCKDIVISION_DIV1;
  htim10.Init.AutoReloadPreload = TIM_AUTORELOAD_PRELOAD_DISABLE;
  if (HAL_TIM_Base_Init(&htim10) != HAL_OK)
  {
    Error_Handler();
  }

}

static void MX_USART1_UART_Init(void)
{

  huart1.Instance = USART1;
  huart1.Init.BaudRate = 115200;
  huart1.Init.WordLength = UART_WORDLENGTH_8B;
  huart1.Init.StopBits = UART_STOPBITS_1;
  huart1.Init.Parity = UART_PARITY_NONE;
  huart1.Init.Mode = UART_MODE_TX_RX;
  huart1.Init.HwFlowCtl = UART_HWCONTROL_NONE;
  huart1.Init.OverSampling = UART_OVERSAMPLING_16;
  if (HAL_UART_Init(&huart1) != HAL_OK)
  {
    Error_Handler();
  }

}

void MX_USB_OTG_FS_PCD_Init(void)
{

  hpcd_USB_OTG_FS.Instance = USB_OTG_FS;
  hpcd_USB_OTG_FS.Init.dev_endpoints = 4;
  hpcd_USB_OTG_FS.Init.speed = PCD_SPEED_FULL;
  hpcd_USB_OTG_FS.Init.dma_enable = DISABLE;
  hpcd_USB_OTG_FS.Init.phy_itface = PCD_PHY_EMBEDDED;
  hpcd_USB_OTG_FS.Init.Sof_enable = DISABLE;
  hpcd_USB_OTG_FS.Init.low_power_enable = DISABLE;
  hpcd_USB_OTG_FS.Init.lpm_enable = DISABLE;
  hpcd_USB_OTG_FS.Init.vbus_sensing_enable = DISABLE;
  hpcd_USB_OTG_FS.Init.use_dedicated_ep1 = DISABLE;
  if (HAL_PCD_Init(&hpcd_USB_OTG_FS) != HAL_OK)
  {
    Error_Handler();
  }

}

static void MX_DMA_Init(void)
{

  /* DMA controller clock enable */
  __HAL_RCC_DMA2_CLK_ENABLE();
  __HAL_RCC_DMA1_CLK_ENABLE();

  /* DMA interrupt init */
  /* DMA1_Stream3_IRQn interrupt configuration */
  HAL_NVIC_SetPriority(DMA1_Stream3_IRQn, 5, 0);
  HAL_NVIC_EnableIRQ(DMA1_Stream3_IRQn);
  /* DMA1_Stream4_IRQn interrupt configuration */
  HAL_NVIC_SetPriority(DMA1_Stream4_IRQn, 5, 0);
  HAL_NVIC_EnableIRQ(DMA1_Stream4_IRQn);
  /* DMA2_Stream2_IRQn interrupt configuration */
  HAL_NVIC_SetPriority(DMA2_Stream2_IRQn, 5, 0);
  HAL_NVIC_EnableIRQ(DMA2_Stream2_IRQn);
  /* DMA2_Stream3_IRQn interrupt configuration */
  HAL_NVIC_SetPriority(DMA2_Stream3_IRQn, 5, 0);
  HAL_NVIC_EnableIRQ(DMA2_Stream3_IRQn);

}

static void MX_GPIO_Init(void)
{
  GPIO_InitTypeDef GPIO_InitStruct = {0};

  /* GPIO Ports Clock Enable */
  __HAL_RCC_GPIOC_CLK_ENABLE();
  __HAL_RCC_GPIOH_CLK_ENABLE();
  __HAL_RCC_GPIOA_CLK_ENABLE();
  __HAL_RCC_GPIOB_CLK_ENABLE();

  /*Configure GPIO pin Output Level */
  HAL_GPIO_WritePin(LED_SYS_GPIO_Port, LED_SYS_Pin, GPIO_PIN_RESET);

  /*Configure GPIO pin Output Level */
  HAL_GPIO_WritePin(SPI1_SS1_GPIO_Port, SPI1_SS1_Pin, GPIO_PIN_SET);

  /*Configure GPIO pin Output Level */
  HAL_GPIO_WritePin(GPIOB, DRV_BRAKE_Pin|DRV_ENABLE_Pin, GPIO_PIN_RESET);

  /*Configure GPIO pin Output Level */
  HAL_GPIO_WritePin(GPIOB, SPI1_SS2_Pin|SPI1_SS3_Pin, GPIO_PIN_SET);

  /*Configure GPIO pin : LED_SYS_Pin */
  GPIO_InitStruct.Pin = LED_SYS_Pin;
  GPIO_InitStruct.Mode = GPIO_MODE_OUTPUT_PP;
  GPIO_InitStruct.Pull = GPIO_NOPULL;
  GPIO_InitStruct.Speed = GPIO_SPEED_FREQ_LOW;
  HAL_GPIO_Init(LED_SYS_GPIO_Port, &GPIO_InitStruct);

  /*Configure GPIO pins : DIN1_Pin DIN0_Pin */
  GPIO_InitStruct.Pin = DIN1_Pin|DIN0_Pin;
  GPIO_InitStruct.Mode = GPIO_MODE_INPUT;
  GPIO_InitStruct.Pull = GPIO_PULLUP;
  HAL_GPIO_Init(GPIOC, &GPIO_InitStruct);

  /*Configure GPIO pin : SPI1_SS1_Pin */
  GPIO_InitStruct.Pin = SPI1_SS1_Pin;
  GPIO_InitStruct.Mode = GPIO_MODE_OUTPUT_PP;
  GPIO_InitStruct.Pull = GPIO_NOPULL;
  GPIO_InitStruct.Speed = GPIO_SPEED_FREQ_VERY_HIGH;
  HAL_GPIO_Init(SPI1_SS1_GPIO_Port, &GPIO_InitStruct);

  /*Configure GPIO pin : DRV_BRAKE_Pin */
  GPIO_InitStruct.Pin = DRV_BRAKE_Pin;
  GPIO_InitStruct.Mode = GPIO_MODE_OUTPUT_PP;
  GPIO_InitStruct.Pull = GPIO_NOPULL;
  GPIO_InitStruct.Speed = GPIO_SPEED_FREQ_MEDIUM;
  HAL_GPIO_Init(DRV_BRAKE_GPIO_Port, &GPIO_InitStruct);

  /*Configure GPIO pins : SPI1_SS2_Pin SPI1_SS3_Pin */
  GPIO_InitStruct.Pin = SPI1_SS2_Pin|SPI1_SS3_Pin;
  GPIO_InitStruct.Mode = GPIO_MODE_OUTPUT_PP;
  GPIO_InitStruct.Pull = GPIO_NOPULL;
  GPIO_InitStruct.Speed = GPIO_SPEED_FREQ_VERY_HIGH;
  HAL_GPIO_Init(GPIOB, &GPIO_InitStruct);

  /*Configure GPIO pin : BUTTON_A_Pin */
  GPIO_InitStruct.Pin = BUTTON_A_Pin;
  GPIO_InitStruct.Mode = GPIO_MODE_IT_RISING;
  GPIO_InitStruct.Pull = GPIO_NOPULL;
  HAL_GPIO_Init(BUTTON_A_GPIO_Port, &GPIO_InitStruct);

  /*Configure GPIO pin : DRV_ENABLE_Pin */
  GPIO_InitStruct.Pin = DRV_ENABLE_Pin;
  GPIO_InitStruct.Mode = GPIO_MODE_OUTPUT_PP;
  GPIO_InitStruct.Pull = GPIO_NOPULL;
  GPIO_InitStruct.Speed = GPIO_SPEED_FREQ_LOW;
  HAL_GPIO_Init(DRV_ENABLE_GPIO_Port, &GPIO_InitStruct);

  /*Configure GPIO pin : GP3_Pin */
  GPIO_InitStruct.Pin = GP3_Pin;
  GPIO_InitStruct.Mode = GPIO_MODE_ANALOG;
  GPIO_InitStruct.Pull = GPIO_NOPULL;
  HAL_GPIO_Init(GP3_GPIO_Port, &GPIO_InitStruct);

  /* EXTI interrupt init*/
  HAL_NVIC_SetPriority(EXTI2_IRQn, 6, 0);
  HAL_NVIC_EnableIRQ(EXTI2_IRQn);

}

/* USER CODE BEGIN 4 */
void RebootDFU(void) {
	*((unsigned long *)0x2001FFF0) = 0xDEADBEEF; // End of RAM
	NVIC_SystemReset();
}
/* USER CODE END 4 */

__weak void StartDefaultTask(void *argument)
{
  /* USER CODE BEGIN 5 */
	// HAL_GPIO_WritePin(LED_ERR_GPIO_Port, LED_ERR_Pin, GPIO_PIN_RESET);
	// HAL_GPIO_WritePin(LED_CLIP_GPIO_Port, LED_CLIP_Pin, GPIO_PIN_RESET);
	HAL_GPIO_WritePin(LED_SYS_GPIO_Port, LED_SYS_Pin, GPIO_PIN_RESET);
  /* Infinite loop */
  for(;;)
  {
	cppmain();
    osDelay(1);
  }
  /* USER CODE END 5 */
}

void HAL_TIM_PeriodElapsedCallback(TIM_HandleTypeDef *htim)
{
  if (htim->Instance == TIM11) {
    HAL_IncTick();
  }
  /* USER CODE BEGIN Callback 1 */
  else{
	  HAL_TIM_PeriodElapsedCallback_CPP(htim);
  }
  /* USER CODE END Callback 1 */
}

void Error_Handler(void)
{
  /* USER CODE BEGIN Error_Handler_Debug */

	// Blink Error led quickly
	for(uint8_t i = 0; i< 5; i++){
		HAL_GPIO_WritePin(LED_SYS_GPIO_Port, LED_SYS_Pin, GPIO_PIN_SET);
		osDelay(50);
		HAL_GPIO_WritePin(LED_SYS_GPIO_Port, LED_SYS_Pin, GPIO_PIN_RESET);
		osDelay(50);
	}
  /* User can add his own implementation to report the HAL error return state */

  /* USER CODE END Error_Handler_Debug */
}
